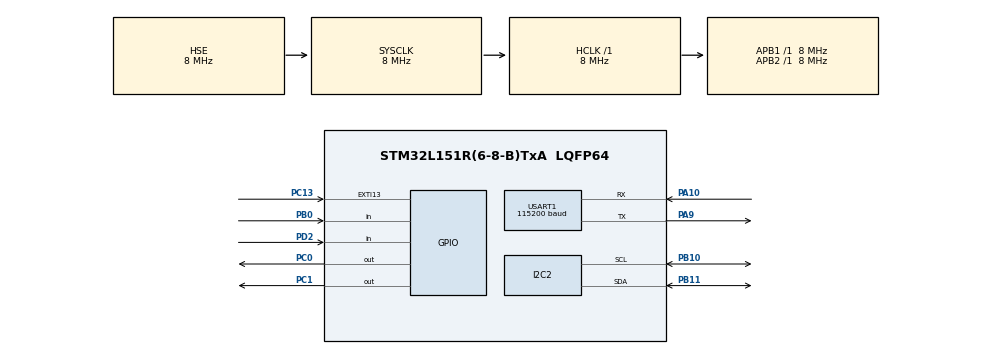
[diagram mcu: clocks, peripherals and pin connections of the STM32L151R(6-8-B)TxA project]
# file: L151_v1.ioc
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I2C2.I2C_Mode=I2C_Fast
Mcu.Family=STM32L1
Mcu.Name=STM32L151R(6-8-B)TxA
Mcu.Package=LQFP64
NVIC.EXTI15_10_IRQn=true\:0\:0\:false\:false\:true\:true\:true
NVIC.PriorityGroup=NVIC_PRIORITYGROUP_4
NVIC.USART1_IRQn=true\:0\:0\:false\:false\:true\:true\:true
PA10.Mode=Asynchronous
PA10.Signal=USART1_RX
PA13.Mode=Serial_Wire
PA13.Signal=SYS_JTMS-SWDIO
PA14.Mode=Serial_Wire
PA14.Signal=SYS_JTCK-SWCLK
PA9.Mode=Asynchronous
PA9.Signal=USART1_TX
PB0.Signal=GPIO_Input
PB10.Mode=I2C
PB10.Signal=I2C2_SCL
PB11.Mode=I2C
PB11.Signal=I2C2_SDA
PC0.Signal=GPIO_Output
PC1.Signal=GPIO_Output
PC13-WKUP2.Signal=GPXTI13
PD2.Signal=GPIO_Input
PH0-OSC_IN.Mode=HSE-External-Oscillator
PH0-OSC_IN.Signal=RCC_OSC_IN
PH1-OSC_OUT.Mode=HSE-External-Oscillator
PH1-OSC_OUT.Signal=RCC_OSC_OUT
ProjectManager.HeapSize=0x200
ProjectManager.StackSize=0x400
ProjectManager.TargetToolchain=STM32CubeIDE
RCC.48MHZClocksFreq_Value=16000000
RCC.AHBFreq_Value=8000000
RCC.APB1Freq_Value=8000000
RCC.APB1TimFreq_Value=8000000
RCC.APB2Freq_Value=8000000
RCC.APB2TimFreq_Value=8000000
RCC.HCLKFreq_Value=8000000
RCC.HSE_VALUE=8000000
RCC.HSI_VALUE=16000000
RCC.LSE_VALUE=32768
RCC.MSI_VALUE=2097000
RCC.PLLDIV=RCC_PLL_DIV3
RCC.PLLMUL=RCC_PLL_MUL4
RCC.PLLSourceVirtual=RCC_PLLSOURCE_HSE
RCC.SYSCLKFreq_VALUE=8000000
RCC.SYSCLKSource=RCC_SYSCLKSOURCE_HSE
RCC.VCOOutputFreq_Value=32000000
USART1.BaudRate=115200
USART1.VirtualMode=VM_ASYNC
board=custom

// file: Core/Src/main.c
/* USER CODE BEGIN Header */
/**
 ******************************************************************************
 * @file           : main.c
 * @brief          : Main program body
 ******************************************************************************
 * @attention
 *
 * <h2><center>&copy; Copyright (c) 2020 STMicroelectronics.
 * All rights reserved.</center></h2>
 *
 * This software component is licensed by ST under BSD 3-Clause license,
 * the "License"; You may not use this file except in compliance with the
 * License. You may obtain a copy of the License at:
 *                        opensource.org/licenses/BSD-3-Clause
 *
 ******************************************************************************
 */
/* USER CODE END Header */

#include "main.h"

/* USER CODE BEGIN Includes */
#include "ina260.h"
/* USER CODE END Includes */

/* USER CODE BEGIN PD */
#define LED_PORT 				   GPIOC
#define LED_PIN 				   GPIO_PIN_1

#define BTN_IRQ_PORT    		   GPIOC
#define BTN_IRQ_PIN     		   GPIO_PIN_13

#define BTN_USER_PORT	 		   GPIOD
#define BTN_USER_PIN 	 		   GPIO_PIN_2

#define PIN_GLOBAL_POWER_PORT  	   GPIOC
#define PIN_GLOBAL_POWER_PIN	   GPIO_PIN_0

#define PIN_STATUS_CHARGER_PORT	   GPIOB
#define PIN_STATUS_CHARGER_PIN	   GPIO_PIN_0

//size_rx_uart  12 if Windows x64
//size_rx_uart  10 if Ubuntu x64
//size_rx_uart  6 if Raspberry Pi
#define size_rx_uart  6

#pragma pack(push, 1)
typedef struct
{
	uint8_t command;
	uint8_t length;
	int8_t* buff;
}tcp_packet_t;
#pragma pack(pop)

#define SLAVE_SUCCESS_ANSWER        0
#define SLAVE_BAD_ANSWER           -1

#define CMD_ANSWER  		        1
#define CMD_GET_INAINFO			    2
#define CMD_SHUTDOWN     		    3
/* USER CODE END PD */

I2C_HandleTypeDef hi2c2;

UART_HandleTypeDef huart1;

void SystemClock_Config(void);
static void MX_GPIO_Init(void);
static void MX_I2C2_Init(void);
static void MX_USART1_UART_Init(void);

/* USER CODE BEGIN 0 */
void get_sleep();
void blink(uint8_t, uint32_t);//для отладки
void HAL_UART_RxCpltCallback(UART_HandleTypeDef *);
void HAL_UART_TxCpltCallback(UART_HandleTypeDef *);
//void send_message (tcp_packet_t*);
void get_volt_and_chargerStatus(ina260_t *);

int8_t flag_btn_irq = 0;
int8_t flag_btn_user_pressed = 0;
int8_t flag_get_UART=0;
int8_t flag_need_sleep = 1;

uint8_t rx_uart[size_rx_uart]={0, };
uint8_t tx_uart[10]={10, 11, 12, 13, 14, 15, 16, 17, 18, 19}; //для отладки

uint8_t tx_uart_2[1]={11}; //для отладки
/* USER CODE END 0 */

int main(void)
{

	/* MCU Configuration--------------------------------------------------------*/

	/* Reset of all peripherals, Initializes the Flash interface and the Systick. */
	HAL_Init();

	/* Configure the system clock */
	SystemClock_Config();

	/* Initialize all configured peripherals */
	MX_GPIO_Init();
	MX_I2C2_Init();
	MX_USART1_UART_Init();
	/* USER CODE BEGIN 2 */

	//для отладки
	blink(6, 40);

	__HAL_UART_ENABLE_IT(&huart1, UART_IT_RXNE);
	//	HAL_UART_Transmit_IT (&huart1, (uint8_t*)tx_uart, 10);//для отладки
	HAL_UART_Transmit(&huart1, tx_uart_2, 1, 100);//для отладки
	uint8_t addr_ina = 0x45;
	ina260_t *m_pow = NULL;
	m_pow = ina260_new (&hi2c2, (uint8_t*)addr_ina); //

	ina260_set_config(m_pow,
			iotPower,
			iomContinuous,
			ictConvert1p1ms,
			ictConvert1p1ms,
			issSample16);

//	uint8_t readyStatus = ina260_ready(m_pow);

	/* USER CODE END 2 */

	/* Infinite loop */
	/* USER CODE BEGIN WHILE */
	while (1)
	{
		//отправляем в сон
		if(flag_need_sleep){
			get_sleep();
			//выход после режима сна
			flag_need_sleep=0;
		}
		//произошло короткое нажатие кнопки - вызывает прерывание
		//если произошло прерывание по кнопке BTN_IRQ
		if(flag_btn_irq){
			blink(6, 50);
			//необходимо проверить состояние кнопки на удержание BTN_USER
			//(BTN_USER и BTN_IRQ - физически это одна и та же кнопка, выводы дублируются на ещё один пин, так как на ней и режим прерывания и обычный )
			HAL_Delay(1900);
			if(HAL_GPIO_ReadPin(BTN_USER_PORT, BTN_USER_PIN) == GPIO_PIN_RESET){
				//кнопка удерживается какой то период времени
				flag_btn_user_pressed=1;
			}

			//кнопку удерживали, необходимо вкл прибор
			if(flag_btn_user_pressed){
				//включаем пин, отвечающий за глобальное управление питанием
				HAL_GPIO_WritePin(PIN_GLOBAL_POWER_PORT, PIN_GLOBAL_POWER_PIN, GPIO_PIN_SET);
				blink(6,50);  //для отладки
				//LED сигнализирующий, что питание подано
				HAL_GPIO_WritePin(LED_PORT, LED_PIN, GPIO_PIN_SET);
				flag_btn_user_pressed = 0;

				//разрешаем работу по UART`у
				flag_get_UART=1;

				while(flag_get_UART){
					HAL_UART_Receive_IT (&huart1, (uint8_t*)rx_uart, size_rx_uart);
					//данный буффер собирается в обработчике прерываний,
					//т.е когда буффер rx_uart размером (size_rx_uart) получает все байты,
					//тогда происходит прерывание и срабатывает обработчик прерываний HAL_UART_RxCpltCallback(UART_HandleTypeDef *huart)
					int8_t action=rx_uart[0];

					switch (action)
					{
					//команда получения данных с INA и пина, который показывает источник зарядки
					case 0x02:
						blink(6,50);
						get_volt_and_chargerStatus(m_pow);
						break;
					//команда выключения
					case 0x03:
						blink(6, 1000);

						flag_get_UART = 0;
						flag_btn_user_pressed = 0;
						flag_btn_irq=0;
						flag_need_sleep=1;

						HAL_GPIO_WritePin(LED_PORT, LED_PIN, GPIO_PIN_SET); // для отладки - удалить

						//перед выключением питания необходим таймаут
						//для корректного выключения master`a
						// HAL_Delay(60000);
						HAL_Delay(6000);

						//пин управления питанием в LOW
						HAL_GPIO_WritePin(PIN_GLOBAL_POWER_PORT, PIN_GLOBAL_POWER_PIN, GPIO_PIN_RESET);
						//светодиод индикации питания выкл
						HAL_GPIO_WritePin(LED_PORT, LED_PIN, GPIO_PIN_RESET);
						break;

					default:
						//другие команды игнорируются
						break;
					}

					//обнуление массива rx_uart
					memset(&rx_uart[0], 0x00, size_rx_uart);
				}

			}else{
				flag_need_sleep=1;
				flag_btn_irq=0;
			}

		}

		/* USER CODE END WHILE */

	}
}

void SystemClock_Config(void)
{
	RCC_OscInitTypeDef RCC_OscInitStruct = {0};
	RCC_ClkInitTypeDef RCC_ClkInitStruct = {0};

	/** Configure the main internal regulator output voltage
	 */
	__HAL_PWR_VOLTAGESCALING_CONFIG(PWR_REGULATOR_VOLTAGE_SCALE1);
	/** Initializes the CPU, AHB and APB busses clocks
	 */
	RCC_OscInitStruct.OscillatorType = RCC_OSCILLATORTYPE_HSE;
	RCC_OscInitStruct.HSEState = RCC_HSE_ON;
	RCC_OscInitStruct.PLL.PLLState = RCC_PLL_NONE;
	if (HAL_RCC_OscConfig(&RCC_OscInitStruct) != HAL_OK)
	{
		Error_Handler();
	}
	/** Initializes the CPU, AHB and APB busses clocks
	 */
	RCC_ClkInitStruct.ClockType = RCC_CLOCKTYPE_HCLK|RCC_CLOCKTYPE_SYSCLK
			|RCC_CLOCKTYPE_PCLK1|RCC_CLOCKTYPE_PCLK2;
	RCC_ClkInitStruct.SYSCLKSource = RCC_SYSCLKSOURCE_HSE;
	RCC_ClkInitStruct.AHBCLKDivider = RCC_SYSCLK_DIV1;
	RCC_ClkInitStruct.APB1CLKDivider = RCC_HCLK_DIV1;
	RCC_ClkInitStruct.APB2CLKDivider = RCC_HCLK_DIV1;

	if (HAL_RCC_ClockConfig(&RCC_ClkInitStruct, FLASH_LATENCY_0) != HAL_OK)
	{
		Error_Handler();
	}
}

static void MX_I2C2_Init(void)
{

	hi2c2.Instance = I2C2;
	hi2c2.Init.ClockSpeed = 400000;
	hi2c2.Init.DutyCycle = I2C_DUTYCYCLE_2;
	hi2c2.Init.OwnAddress1 = 0;
	hi2c2.Init.AddressingMode = I2C_ADDRESSINGMODE_7BIT;
	hi2c2.Init.DualAddressMode = I2C_DUALADDRESS_DISABLE;
	hi2c2.Init.OwnAddress2 = 0;
	hi2c2.Init.GeneralCallMode = I2C_GENERALCALL_DISABLE;
	hi2c2.Init.NoStretchMode = I2C_NOSTRETCH_DISABLE;
	if (HAL_I2C_Init(&hi2c2) != HAL_OK)
	{
		Error_Handler();
	}

}

static void MX_USART1_UART_Init(void)
{

	huart1.Instance = USART1;
	huart1.Init.BaudRate = 115200;
	huart1.Init.WordLength = UART_WORDLENGTH_8B;
	huart1.Init.StopBits = UART_STOPBITS_1;
	huart1.Init.Parity = UART_PARITY_NONE;
	huart1.Init.Mode = UART_MODE_TX_RX;
	huart1.Init.HwFlowCtl = UART_HWCONTROL_NONE;
	huart1.Init.OverSampling = UART_OVERSAMPLING_16;
	if (HAL_UART_Init(&huart1) != HAL_OK)
	{
		Error_Handler();
	}

}

static void MX_GPIO_Init(void)
{
	GPIO_InitTypeDef GPIO_InitStruct = {0};

	/* GPIO Ports Clock Enable */
	__HAL_RCC_GPIOC_CLK_ENABLE();
	__HAL_RCC_GPIOH_CLK_ENABLE();
	__HAL_RCC_GPIOB_CLK_ENABLE();
	__HAL_RCC_GPIOA_CLK_ENABLE();
	__HAL_RCC_GPIOD_CLK_ENABLE();

	/*Configure GPIO pin Output Level */
	HAL_GPIO_WritePin(GPIOC, GPIO_PIN_0|GPIO_PIN_1, GPIO_PIN_RESET);

	/*Configure GPIO pin : PC13 */
	GPIO_InitStruct.Pin = GPIO_PIN_13;
	GPIO_InitStruct.Mode = GPIO_MODE_IT_RISING;
	GPIO_InitStruct.Pull = GPIO_NOPULL;
	HAL_GPIO_Init(GPIOC, &GPIO_InitStruct);

	/*Configure GPIO pins : PC0 PC1 */
	GPIO_InitStruct.Pin = GPIO_PIN_0|GPIO_PIN_1;
	GPIO_InitStruct.Mode = GPIO_MODE_OUTPUT_PP;
	GPIO_InitStruct.Pull = GPIO_NOPULL;
	GPIO_InitStruct.Speed = GPIO_SPEED_FREQ_LOW;
	HAL_GPIO_Init(GPIOC, &GPIO_InitStruct);

	/*Configure GPIO pin : PB0 */
	GPIO_InitStruct.Pin = GPIO_PIN_0;
	GPIO_InitStruct.Mode = GPIO_MODE_INPUT;
	GPIO_InitStruct.Pull = GPIO_NOPULL;
	HAL_GPIO_Init(GPIOB, &GPIO_InitStruct);

	/*Configure GPIO pin : PD2 */
	GPIO_InitStruct.Pin = GPIO_PIN_2;
	GPIO_InitStruct.Mode = GPIO_MODE_INPUT;
	GPIO_InitStruct.Pull = GPIO_NOPULL;
	HAL_GPIO_Init(GPIOD, &GPIO_InitStruct);

	/* EXTI interrupt init*/
	HAL_NVIC_SetPriority(EXTI15_10_IRQn, 0, 0);
	HAL_NVIC_EnableIRQ(EXTI15_10_IRQn);

}

/* USER CODE BEGIN 4 */
void HAL_GPIO_EXTI_Callback(uint16_t GPIO_Pin)
{
	if(GPIO_Pin== BTN_IRQ_PIN) {
		//HAL_GPIO_WritePin(GPIOC, GPIO_PIN_1, GPIO_PIN_SET);
		flag_btn_irq=1;
		flag_need_sleep = 0;
	}else{
		__NOP();
	}
}

void get_sleep()
{
	HAL_SuspendTick();
	HAL_PWR_EnterSLEEPMode(PWR_MAINREGULATOR_ON, PWR_SLEEPENTRY_WFI);
	HAL_ResumeTick();
}

void blink(uint8_t counter_blink, uint32_t t_ms)
{
	for(int8_t i=0; i<counter_blink; ++i){
		HAL_GPIO_TogglePin(LED_PORT, LED_PIN); //Toggle LED
		HAL_Delay (t_ms);
	}
}

void HAL_UART_RxCpltCallback(UART_HandleTypeDef *huart)
{
	if(huart == &huart1){

	}
}

void HAL_UART_TxCpltCallback(UART_HandleTypeDef *huart)
{
	__NOP();
}
//
//void send_message (tcp_packet_t* ans_struct){
//	uint16_t len_send=sizeof(ans_struct->command)+sizeof(ans_struct->length) + ans_struct->length;
//
//	const uint16_t sizeTempMSV = len_send;
//	uint8_t TempMSV[sizeTempMSV];
//	memset(&TempMSV[0], 0x00, len_send);
//	//собираем сообщение
//	uint8_t pos=0;
//	memcpy(&TempMSV[pos], &ans_struct->command, sizeof(ans_struct->command));
//	pos+=sizeof(ans_struct->command);
//	memcpy(&TempMSV[pos], &ans_struct->length, sizeof(ans_struct->length));
//	pos+=sizeof(ans_struct->length);
//	memcpy(&TempMSV[pos], &ans_struct->buff[0], ans_struct->length);
//
//	//send message
//	//	HAL_UART_Transmit_IT (&huart1, (uint8_t*)TempMSV, len_send-13);
//	HAL_UART_Transmit_IT (&huart1, (uint8_t*)&TempMSV[0], len_send);
//	//	HAL_UART_Transmit(&huart1, (uint8_t*)&TempMSV[0], len_send-13, 100);
//}

void get_volt_and_chargerStatus(ina260_t *_pow)
{
	float voltage = 0.0f;
	int8_t flag_status_charger = 0;
	int8_t res = SLAVE_SUCCESS_ANSWER;

	//get measure INA260
	if(ina260_get_voltage(_pow, &voltage) !=HAL_OK){
		res = SLAVE_BAD_ANSWER;
	}

	//get flag - charging status pin from charger or battery
	if(HAL_GPIO_ReadPin(PIN_STATUS_CHARGER_PORT, PIN_STATUS_CHARGER_PIN)==0){
		//charging from battery
		flag_status_charger = 0;
	}else{
		//charging from power supply
		flag_status_charger = 1;
	}

	tcp_packet_t ans;
	memset(&ans, 0x00, sizeof(tcp_packet_t));

	//собираем сообщение------------------------------------------
	ans.command = CMD_ANSWER;
	uint8_t length_data = sizeof(voltage) + sizeof(flag_status_charger);
	ans.length = sizeof(ans.command) + sizeof(res) + sizeof(length_data) + sizeof(voltage) + sizeof(flag_status_charger);
	uint8_t pos = 0;
	int8_t Buffer[ans.length];
	memset(&Buffer[0], 0x00, ans.length);

	memcpy(&Buffer[pos], (int8_t*)&ans.command, sizeof(ans.command));
	pos+= sizeof(ans.command);
	memcpy(&Buffer[pos], (int8_t*)&res, sizeof(res));
	pos+=sizeof(res);
	memcpy(&Buffer[pos], (int8_t*)&length_data, sizeof(length_data));
	pos+=sizeof(length_data);
	memcpy(&Buffer[pos], (int8_t*)&voltage, sizeof(voltage));
	pos+=sizeof(voltage);
	memcpy(&Buffer[pos], (int8_t*)&flag_status_charger, sizeof(flag_status_charger));
	pos+=sizeof(flag_status_charger);
	//------------------------------------------------------------

	//send message in COM-PORT (UART to master)
	HAL_UART_Transmit(&huart1, (uint8_t*)&Buffer[0], ans.length, 100);
//	HAL_UART_Transmit_IT (&huart1, (uint8_t*)&Buffer[0], ans.length);
}

/* USER CODE END 4 */

void Error_Handler(void)
{
}

/************************ (C) COPYRIGHT STMicroelectronics *****END OF FILE****/
